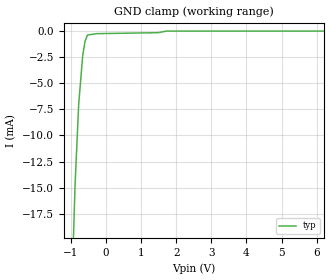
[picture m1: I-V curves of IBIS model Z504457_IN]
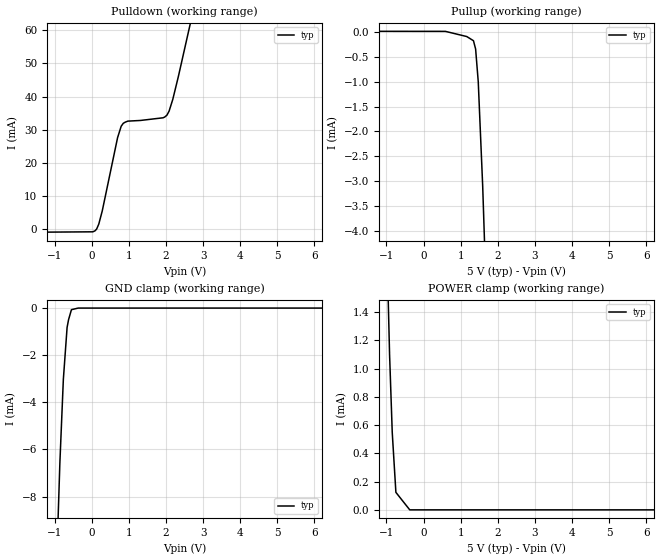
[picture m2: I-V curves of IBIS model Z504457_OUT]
| YOU ARE ONLY AUTHORIZED TO USE THIS SOFTWARE
| ACCORDING TO LICENSOR'S LICENSE RESTRICTIONS.
[IBIS Ver] 3.1
[File Name] sn54ls42j.ibs
[File Rev] 2.0
[Source] Measured and created by ICX Technology
[Date] Friday 7/14/00 9:08:15 AM
[Copyright]
| (C) COPYRIGHT 1993-2000
| MENTOR GRAPHICS CORPORATION
| ICX STANDARD LIBRARY, ICX PROJECT MODELING,
| ICX CUSTOM MODELING, ICX VENDOR MODEL
| ALL RIGHTS RESERVED.
| THE FOLLOWING ARE TRADEMARKS OR SERVICE MARKS OF
| MENTOR GRAPHICS CORPORATION:ICX (R), ICX STANDARD
| LIBRARY(R), ICX PROJECT MODELING(R), ICX CUSTOM
| MODELING(R), qualityIBIS(TM), MODELVIEWER(TM),
| AND MODELEDITOR(TM)
| ALL COPIES OF SOFTWARE, INCLUDING BUT NOT LIMITED TO
| ANY MODIFICATIONS, ENHANCEMENTS OR DERIVATIVE WORKS,
| MUST CONTAIN ALL MENTOR GRAPHICS CORPORATION'S
| NOTICES AND LEGENDS, INCLUDING THOSE EMBEDDED IN
| SOFTWARE AND THOSE AFFIXED TO SOFTWARE MEDIUM
| AND CONTAINER, AS RECEIVED FROM MENTOR GRAPHICS
| CORPORATION.
|  ZAP Model Builder 2.7
[Component] SN54LS42J
[Manufacturer] OnSemiconductor
[Package]
| variable   typ   min   max
R_pkg  .212ohms NA NA
L_pkg  4.758nH NA NA
C_pkg  1.944pF NA NA
[Pin] signal_name  model_name  R_pin  L_pin C_pin
1 _Y0 Z504457_OUT .224 7.258n 2.683p
2 _Y1 Z504457_OUT .216 5.258n 2.19p
3 _Y2 Z504457_OUT .208 3.758n 1.697p
4 _Y3 Z504457_OUT .2 2.758n 1.204p
5 _Y4 Z504457_OUT .2 2.758n 1.204p
6 _Y5 Z504457_OUT .208 3.758n 1.697p
7 _Y6 Z504457_OUT .216 5.258n 2.19p
8 GND GND .224 7.258n 2.683p
9 _Y7 Z504457_OUT .224 7.258n 2.683p
10 _Y8 Z504457_OUT .216 5.258n 2.19p
11 _Y9 Z504457_OUT .208 3.758n 1.697p
12 D Z504457_IN .2 2.758n 1.204p
13 C Z504457_IN .2 2.758n 1.204p
14 B Z504457_IN .208 3.758n 1.697p
15 A Z504457_IN .216 5.258n 2.19p
16 VCC POWER .224 7.258n 2.683p
| Models and submodels in the file (2): Z504457_IN (Input), Z504457_OUT (Output)
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| (C) COPYRIGHT 1993-2000
| MENTOR GRAPHICS CORPORATION
| ICX STANDARD LIBRARY, ICX PROJECT MODELING,
| ICX CUSTOM MODELING, ICX VENDOR MODEL
| ALL RIGHTS RESERVED.
| THE FOLLOWING ARE TRADEMARKS OR SERVICE MARKS OF
| MENTOR GRAPHICS CORPORATION:ICX (R), ICX STANDARD
| LIBRARY(R), ICX PROJECT MODELING(R), ICX CUSTOM
| MODELING(R), qualityIBIS(TM), MODELVIEWER(TM),
| AND MODELEDITOR(TM)
| ALL COPIES OF SOFTWARE, INCLUDING BUT NOT LIMITED TO
| ANY MODIFICATIONS, ENHANCEMENTS OR DERIVATIVE WORKS,
| MUST CONTAIN ALL MENTOR GRAPHICS CORPORATION'S
| NOTICES AND LEGENDS, INCLUDING THOSE EMBEDDED IN
| SOFTWARE AND THOSE AFFIXED TO SOFTWARE MEDIUM
| AND CONTAINER, AS RECEIVED FROM MENTOR GRAPHICS
| CORPORATION.
| Model Application Version 1.89 2/18/99.
[Model] Z504457_IN
Model_type Input
Vinl = 800.0mV
Vinh = 2.000V
C_comp 4.000pF NA NA
| variable typ   min   max
[Voltage Range] 5.000V NA NA
[GND Clamp Reference] 0.000V NA NA
[POWER Clamp Reference] 5.000V NA NA
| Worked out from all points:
|   GND clamp passes 1 mA (typ) near -0.60 V on its own axis
[GND Clamp]
-5V       -466.9mA   NA         NA
-878.9mV  -14.65mA   NA         NA
-776.4mV  -6.985mA   NA         NA
-662.8mV  -2.359mA   NA         NA
-598.8mV  -1.014mA   NA         NA
-527.3mV  -384.2uA   NA         NA
-263.7mV  -251.8uA   NA         NA
1.485V    -157.9uA   NA         NA
1.723V    -5.821uA   NA         NA
10V       -5.821uA   NA         NA
[POWER Clamp]
-5V       0A         NA         NA
10V       0A         NA         NA
| (C) COPYRIGHT 1993-2000
| MENTOR GRAPHICS CORPORATION
| ICX STANDARD LIBRARY, ICX PROJECT MODELING,
| ICX CUSTOM MODELING, ICX VENDOR MODEL
| ALL RIGHTS RESERVED.
| THE FOLLOWING ARE TRADEMARKS OR SERVICE MARKS OF
| MENTOR GRAPHICS CORPORATION:ICX (R), ICX STANDARD
| LIBRARY(R), ICX PROJECT MODELING(R), ICX CUSTOM
| MODELING(R), qualityIBIS(TM), MODELVIEWER(TM),
| AND MODELEDITOR(TM)
| ALL COPIES OF SOFTWARE, INCLUDING BUT NOT LIMITED TO
| ANY MODIFICATIONS, ENHANCEMENTS OR DERIVATIVE WORKS,
| MUST CONTAIN ALL MENTOR GRAPHICS CORPORATION'S
| NOTICES AND LEGENDS, INCLUDING THOSE EMBEDDED IN
| SOFTWARE AND THOSE AFFIXED TO SOFTWARE MEDIUM
| AND CONTAINER, AS RECEIVED FROM MENTOR GRAPHICS
| CORPORATION.
| Model Application Version 1.89 2/18/99.
[Model] Z504457_OUT
Model_type Output
Vref=5.000V
Rref=2.000kohms
Cref=15.00pF
Vmeas=1.300V
C_comp 8.000pF NA NA
| variable typ   min   max
[Voltage Range] 5.000V NA NA
[POWER Clamp Reference] 5.000V NA NA
[Pullup Reference] 5.000V NA NA
[Pulldown Reference] 0.000V NA NA
[GND Clamp Reference] 0.000V NA NA
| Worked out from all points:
|   slope of the pulldown table from 0 to 0.75 V, typ, clamps not added: 24.8 ohm
|   slope of the pullup table from 0 to 0.75 V, typ, clamps not added: 25 kohm
|   GND clamp passes 1 mA (typ) near -0.67 V on its own axis
|   POWER clamp passes 1 mA (typ) near -0.90 V on its own axis
[GND Clamp]
-5V       -250mA     NA         NA
-1.011V   -14.08mA   NA         NA
-859mV    -6.588mA   NA         NA
-764.9mV  -3.029mA   NA         NA
-664.1mV  -822.4uA   NA         NA
-625mV    -496.5uA   NA         NA
-547.2mV  -67.98uA   NA         NA
-364.8mV  0A         NA         NA
10V       0A         NA         NA
[Pulldown]
-5V       -1.16mA    NA         NA
29.3mV    -766.3uA   NA         NA
131.8mV   57.95uA    NA         NA
189.5mV   1.552mA    NA         NA
283mV     5.516mA    NA         NA
695.8mV   27.59mA    NA         NA
792.9mV   31.04mA    NA         NA
972.9mV   32.59mA    NA         NA
2.026V    34.39mA    NA         NA
2.183V    39.13mA    NA         NA
2.332V    45.95mA    NA         NA
10V       426mA      NA         NA
[Pullup]
-5V       10.06uA    NA         NA
586mV     6.627uA    NA         NA
1.163V    -97.58uA   NA         NA
1.343V    -181.1uA   NA         NA
1.401V    -348uA     NA         NA
1.472V    -1.004mA   NA         NA
1.592V    -3.103mA   NA         NA
10V       -194.2mA   NA         NA
[POWER Clamp]
-5V       51.48mA    NA         NA
-1.045V   2.455mA    NA         NA
-917mV    1.099mA    NA         NA
-845mV    546.8uA    NA         NA
-747mV    123.9uA    NA         NA
-373.5mV  0A         NA         NA
10V       0A         NA         NA
[Ramp]
| variable typ min max
dV/dt_r 1.889/6.963n NA NA
dV/dt_f 1.889/2.808n NA NA
R_load = 500.0Ohms
